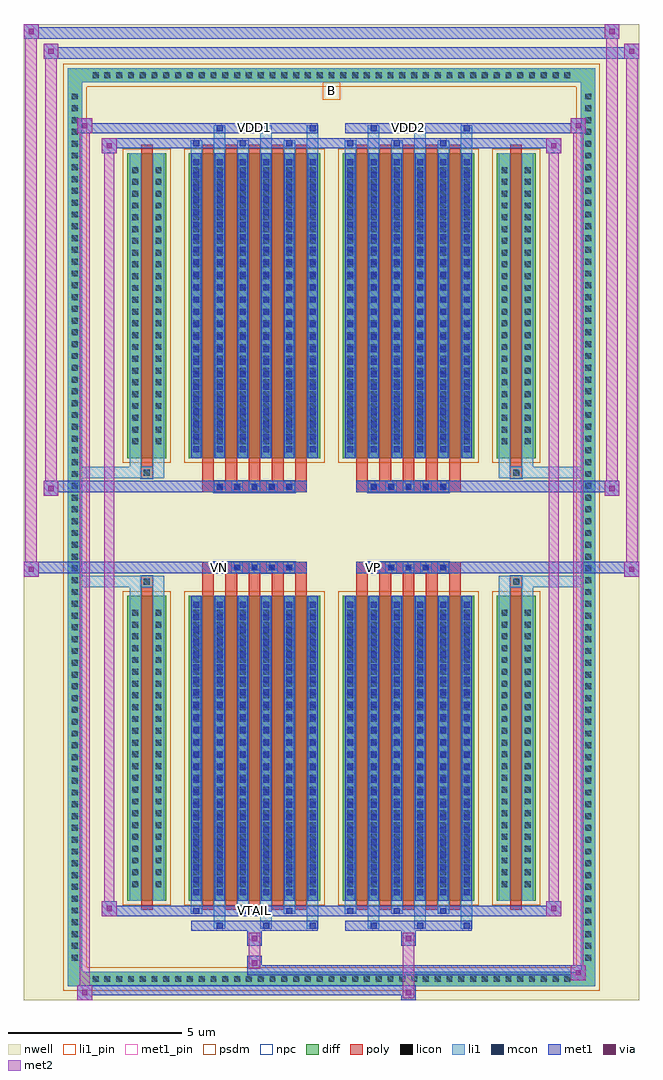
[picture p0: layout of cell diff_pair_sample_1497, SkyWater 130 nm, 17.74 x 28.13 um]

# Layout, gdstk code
import gdstk
lib = gdstk.Library(unit=1e-6, precision=5e-09)
def R(c, l, rs):  # rectangles x0, y0, x1, y1
    for r in rs: c.add(gdstk.rectangle(r[:2], r[2:], *l))
def A(c, l, x, y, w, h, nx, ny, dx, dy):  # array of equal rectangles
    R(c, l, [(x+i*dx, y+j*dy, x+i*dx+w, y+j*dy+h) for i in range(nx) for j in range(ny)])
def P(c, l, *ps):  # polygons
    for p in ps: c.add(gdstk.Polygon(p, *l))
nwell = (64, 20)
diff = (65, 20)
poly = (66, 20)
licon = (66, 44)
li1_pin = (67, 16)
li1 = (67, 20)
mcon = (67, 44)
met1_pin = (68, 16)
met1 = (68, 20)
via = (68, 44)
met2 = (69, 20)
psdm = (94, 20)
npc = (95, 20)

diff_pair_sample_1497 = lib.new_cell('diff_pair_sample_1497')
R(diff_pair_sample_1497, nwell, [(-8.87,-13.63,8.87,14.5), (-6.19,-11.82,-0.01,-0.8), (0.01,-11.82,6.19,-0.8), (-6.19,0.8,-0.01,11.82), (0.01,0.8,6.19,11.82)])
A(diff_pair_sample_1497, diff, -7.005, -13.23, 0.41, 0.41, 41, 2, 0.34, 26.05)
A(diff_pair_sample_1497, diff, -7.6, -12.615, 0.41, 0.41, 1, 74, 0, 0.34)
A(diff_pair_sample_1497, diff, 7.19, -12.615, 0.41, 0.41, 1, 74, 0, 0.34)
R(diff_pair_sample_1497, diff, [(-7.005,-13.23,7.005,-12.82), (-7.6,-12.615,-7.19,12.615), (7.19,-12.615,7.6,12.615), (-5.88,-10.775,-4.76,-1.985), (-4.12,-10.775,-0.32,-1.985), (0.32,-10.775,4.12,-1.985), (4.76,-10.775,5.88,-1.985), (-5.88,1.985,-4.76,10.775), (-4.12,1.985,-0.32,10.775), (0.32,1.985,4.12,10.775), (4.76,1.985,5.88,10.775), (-7.005,12.82,7.005,13.23)])
P(diff_pair_sample_1497, diff, [(7.6,13.23),(-7.6,13.23),(-7.6,-12.82),(-7.19,-12.82),(-7.19,12.82),(7.19,12.82),(7.19,-12.82),(-7.19,-12.82),(-7.6,-12.82),(-7.6,-13.23),(7.6,-13.23)])
A(diff_pair_sample_1497, poly, -3.73, -11.025, 0.34, 9.29, 5, 2, 0.67, 12.76)
A(diff_pair_sample_1497, poly, 0.71, -11.025, 0.34, 9.29, 5, 2, 0.67, 12.76)
A(diff_pair_sample_1497, poly, -3.73, -1.735, 0.34, 0.405, 5, 2, 0.67, 3.065)
A(diff_pair_sample_1497, poly, 0.71, -1.735, 0.34, 0.405, 5, 2, 0.67, 3.065)
A(diff_pair_sample_1497, poly, -3.385, -1.33, 0.33, 0.33, 5, 2, 0.5, 2.33)
A(diff_pair_sample_1497, poly, 1.055, -1.33, 0.33, 0.33, 5, 2, 0.5, 2.33)
R(diff_pair_sample_1497, poly, [(-5.49,-11.025,-5.15,-1.735), (5.15,-11.025,5.49,-1.735), (-5.485,-1.735,-5.155,-1.405), (-5.485,-1.735,-5.155,-1.405), (5.155,-1.735,5.485,-1.405), (5.155,-1.735,5.485,-1.405), (-3.73,-1.33,-0.71,-1), (0.71,-1.33,3.73,-1), (-3.73,1,-0.71,1.33), (0.71,1,3.73,1.33), (-5.485,1.405,-5.155,1.735), (-5.485,1.405,-5.155,1.735), (5.155,1.405,5.485,1.735), (5.155,1.405,5.485,1.735), (-5.49,1.735,-5.15,11.025), (5.15,1.735,5.49,11.025)])
A(diff_pair_sample_1497, licon, -6.885, -13.11, 0.17, 0.17, 41, 2, 0.34, 26.05)
A(diff_pair_sample_1497, licon, -7.48, -12.495, 0.17, 0.17, 1, 74, 0, 0.34)
A(diff_pair_sample_1497, licon, 7.31, -12.495, 0.17, 0.17, 1, 74, 0, 0.34)
A(diff_pair_sample_1497, licon, -5.74, -10.375, 0.17, 0.17, 1, 24, 0, 0.34)
A(diff_pair_sample_1497, licon, -5.07, -10.375, 0.17, 0.17, 1, 24, 0, 0.34)
A(diff_pair_sample_1497, licon, -3.98, -10.375, 0.17, 0.17, 6, 24, 0.67, 0.34)
A(diff_pair_sample_1497, licon, 0.46, -10.375, 0.17, 0.17, 6, 24, 0.67, 0.34)
A(diff_pair_sample_1497, licon, 4.9, -10.375, 0.17, 0.17, 1, 24, 0, 0.34)
A(diff_pair_sample_1497, licon, 5.57, -10.375, 0.17, 0.17, 1, 24, 0, 0.34)
A(diff_pair_sample_1497, licon, -3.305, -1.25, 0.17, 0.17, 5, 2, 0.5, 2.33)
A(diff_pair_sample_1497, licon, 1.135, -1.25, 0.17, 0.17, 5, 2, 0.5, 2.33)
A(diff_pair_sample_1497, licon, -5.74, 2.385, 0.17, 0.17, 1, 24, 0, 0.34)
A(diff_pair_sample_1497, licon, -5.07, 2.385, 0.17, 0.17, 1, 24, 0, 0.34)
A(diff_pair_sample_1497, licon, -3.98, 2.385, 0.17, 0.17, 6, 24, 0.67, 0.34)
A(diff_pair_sample_1497, licon, 0.46, 2.385, 0.17, 0.17, 6, 24, 0.67, 0.34)
A(diff_pair_sample_1497, licon, 4.9, 2.385, 0.17, 0.17, 1, 24, 0, 0.34)
A(diff_pair_sample_1497, licon, 5.57, 2.385, 0.17, 0.17, 1, 24, 0, 0.34)
R(diff_pair_sample_1497, licon, [(-5.405,-1.655,-5.235,-1.485), (5.235,-1.655,5.405,-1.485), (-5.405,1.485,-5.235,1.655), (5.235,1.485,5.405,1.655)])
R(diff_pair_sample_1497, li1_pin, [(-0.25,12.32,0.25,12.82)])
A(diff_pair_sample_1497, li1, -6.965, -13.19, 0.33, 0.33, 41, 2, 0.34, 26.05)
A(diff_pair_sample_1497, li1, -7.56, -12.575, 0.33, 0.33, 1, 74, 0, 0.34)
A(diff_pair_sample_1497, li1, 7.23, -12.575, 0.33, 0.33, 1, 74, 0, 0.34)
A(diff_pair_sample_1497, li1, -3.39, -11.58, 0.33, 0.805, 3, 2, 1.34, 22.355)
A(diff_pair_sample_1497, li1, -3.31, -11.58, 0.17, 0.17, 3, 2, 1.34, 22.99)
A(diff_pair_sample_1497, li1, 1.05, -11.58, 0.33, 0.805, 3, 2, 1.34, 22.355)
A(diff_pair_sample_1497, li1, 1.13, -11.58, 0.17, 0.17, 3, 2, 1.34, 22.99)
A(diff_pair_sample_1497, li1, -4.06, -11.15, 0.33, 0.375, 3, 2, 1.34, 21.925)
A(diff_pair_sample_1497, li1, -3.98, -11.15, 0.17, 0.17, 3, 2, 1.34, 22.13)
A(diff_pair_sample_1497, li1, 0.38, -11.15, 0.33, 0.375, 3, 2, 1.34, 21.925)
A(diff_pair_sample_1497, li1, 0.46, -11.15, 0.17, 0.17, 3, 2, 1.34, 22.13)
A(diff_pair_sample_1497, li1, -4.06, -10.775, 0.33, 8.79, 6, 2, 0.67, 12.76)
A(diff_pair_sample_1497, li1, 0.38, -10.775, 0.33, 8.79, 6, 2, 0.67, 12.76)
A(diff_pair_sample_1497, li1, -3.98, -10.605, 0.17, 0.17, 6, 24, 0.67, 0.36)
A(diff_pair_sample_1497, li1, -3.98, -10.605, 0.17, 8.45, 6, 2, 0.67, 12.76)
A(diff_pair_sample_1497, li1, 0.46, -10.605, 0.17, 0.17, 6, 24, 0.67, 0.36)
A(diff_pair_sample_1497, li1, 0.46, -10.605, 0.17, 8.45, 6, 2, 0.67, 12.76)
A(diff_pair_sample_1497, li1, -5.82, -10.455, 0.33, 0.33, 1, 24, 0, 0.34)
A(diff_pair_sample_1497, li1, -5.15, -10.455, 0.33, 0.33, 1, 24, 0, 0.34)
A(diff_pair_sample_1497, li1, -4.06, -10.455, 0.33, 0.33, 6, 24, 0.67, 0.34)
A(diff_pair_sample_1497, li1, 0.38, -10.455, 0.33, 0.33, 6, 24, 0.67, 0.34)
A(diff_pair_sample_1497, li1, 4.82, -10.455, 0.33, 0.33, 1, 24, 0, 0.34)
A(diff_pair_sample_1497, li1, 5.49, -10.455, 0.33, 0.33, 1, 24, 0, 0.34)
A(diff_pair_sample_1497, li1, -3.385, -1.33, 0.33, 0.33, 5, 2, 0.5, 2.33)
A(diff_pair_sample_1497, li1, 1.055, -1.33, 0.33, 0.33, 5, 2, 0.5, 2.33)
A(diff_pair_sample_1497, li1, -3.98, 2.155, 0.17, 0.17, 6, 24, 0.67, 0.36)
A(diff_pair_sample_1497, li1, 0.46, 2.155, 0.17, 0.17, 6, 24, 0.67, 0.36)
A(diff_pair_sample_1497, li1, -5.82, 2.305, 0.33, 0.33, 1, 24, 0, 0.34)
A(diff_pair_sample_1497, li1, -5.15, 2.305, 0.33, 0.33, 1, 24, 0, 0.34)
A(diff_pair_sample_1497, li1, -4.06, 2.305, 0.33, 0.33, 6, 24, 0.67, 0.34)
A(diff_pair_sample_1497, li1, 0.38, 2.305, 0.33, 0.33, 6, 24, 0.67, 0.34)
A(diff_pair_sample_1497, li1, 4.82, 2.305, 0.33, 0.33, 1, 24, 0, 0.34)
A(diff_pair_sample_1497, li1, 5.49, 2.305, 0.33, 0.33, 1, 24, 0, 0.34)
R(diff_pair_sample_1497, li1, [(-7.6,-13.23,-7.19,-12.82), (-7.6,-13.23,-7.19,-12.82), (-7.19,-13.23,7.19,-12.82), (7.19,-13.23,7.6,-12.82), (7.19,-13.23,7.6,-12.82), (-7.6,-12.82,-7.19,12.82), (7.19,-12.82,7.6,12.82), (-5.82,-10.775,-5.49,-1.985), (-5.15,-10.775,-4.82,-1.985), (4.82,-10.775,5.15,-1.985), (5.49,-10.775,5.82,-1.985), (-5.82,-1.985,-5.49,-1.405), (-5.15,-1.985,-4.82,-1.405), (4.82,-1.985,5.15,-1.405), (5.49,-1.985,5.82,-1.405), (-7.6,-1.735,-5.485,-1.405), (-5.82,-1.735,-5.485,-1.405), (-5.485,-1.735,-5.155,-1.405), (-5.155,-1.735,-4.82,-1.405), (4.82,-1.735,5.155,-1.405), (5.155,-1.735,5.485,-1.405), (5.155,-1.735,7.6,-1.405), (5.485,-1.735,5.82,-1.405), (-7.6,1.405,-5.485,1.735), (-5.82,1.405,-5.485,1.735), (-5.82,1.405,-5.49,1.985), (-5.485,1.405,-5.155,1.735), (-5.155,1.405,-4.82,1.735), (-5.15,1.405,-4.82,1.985), (4.82,1.405,5.155,1.735), (4.82,1.405,5.15,1.985), (5.155,1.405,5.485,1.735), (5.155,1.405,7.6,1.735), (5.485,1.405,5.82,1.735), (5.49,1.405,5.82,1.985), (-5.82,1.985,-5.49,10.775), (-5.15,1.985,-4.82,10.775), (4.82,1.985,5.15,10.775), (5.49,1.985,5.82,10.775), (-7.6,12.82,-7.19,13.23), (-7.6,12.82,-7.19,13.23), (-7.19,12.82,7.19,13.23), (7.19,12.82,7.6,13.23), (7.19,12.82,7.6,13.23)])
A(diff_pair_sample_1497, mcon, -3.31, -11.58, 0.17, 0.17, 3, 2, 1.34, 22.99)
A(diff_pair_sample_1497, mcon, 1.13, -11.58, 0.17, 0.17, 3, 2, 1.34, 22.99)
A(diff_pair_sample_1497, mcon, -3.98, -11.15, 0.17, 0.17, 3, 2, 1.34, 22.13)
A(diff_pair_sample_1497, mcon, 0.46, -11.15, 0.17, 0.17, 3, 2, 1.34, 22.13)
A(diff_pair_sample_1497, mcon, -3.98, -10.605, 0.17, 0.17, 6, 24, 0.67, 0.36)
A(diff_pair_sample_1497, mcon, 0.46, -10.605, 0.17, 0.17, 6, 24, 0.67, 0.36)
A(diff_pair_sample_1497, mcon, -3.305, -1.25, 0.17, 0.17, 5, 2, 0.5, 2.33)
A(diff_pair_sample_1497, mcon, 1.135, -1.25, 0.17, 0.17, 5, 2, 0.5, 2.33)
A(diff_pair_sample_1497, mcon, -3.98, 2.155, 0.17, 0.17, 6, 24, 0.67, 0.36)
A(diff_pair_sample_1497, mcon, 0.46, 2.155, 0.17, 0.17, 6, 24, 0.67, 0.36)
R(diff_pair_sample_1497, met1_pin, [(-2.355,-11.19,-2.085,-10.92), (-3.355,-1.29,-3.085,-1.02), (1.085,-1.29,1.355,-1.02), (-2.355,11.37,-2.085,11.64), (2.085,11.37,2.355,11.64)])
A(diff_pair_sample_1497, met1, -3.37, -11.64, 0.29, 0.29, 3, 2, 1.34, 22.99)
A(diff_pair_sample_1497, met1, 1.07, -11.64, 0.29, 0.29, 3, 2, 1.34, 22.99)
A(diff_pair_sample_1497, met1, -4.04, -11.21, 0.29, 0.29, 3, 2, 1.34, 22.13)
A(diff_pair_sample_1497, met1, 0.4, -11.21, 0.29, 0.29, 3, 2, 1.34, 22.13)
A(diff_pair_sample_1497, met1, -4.04, -10.775, 0.29, 8.79, 6, 2, 0.67, 12.76)
A(diff_pair_sample_1497, met1, 0.4, -10.775, 0.29, 8.79, 6, 2, 0.67, 12.76)
A(diff_pair_sample_1497, met1, -4.04, -10.665, 0.29, 0.29, 6, 24, 0.67, 0.36)
A(diff_pair_sample_1497, met1, 0.4, -10.665, 0.29, 0.29, 6, 24, 0.67, 0.36)
A(diff_pair_sample_1497, met1, -3.365, -1.31, 0.29, 0.29, 5, 2, 0.5, 2.33)
A(diff_pair_sample_1497, met1, 1.075, -1.31, 0.29, 0.29, 5, 2, 0.5, 2.33)
A(diff_pair_sample_1497, met1, -4.04, 2.095, 0.29, 0.29, 6, 24, 0.67, 0.36)
A(diff_pair_sample_1497, met1, 0.4, 2.095, 0.29, 0.29, 6, 24, 0.67, 0.36)
R(diff_pair_sample_1497, met1, [(-7.33,-13.63,-6.9,-13.2), (2.005,-13.63,2.435,-13.2), (-7.33,-13.49,2.435,-13.2), (6.9,-13.06,7.33,-12.63), (-2.435,-12.92,7.33,-12.63), (-2.435,-12.78,-2.005,-12.35), (-2.435,-12.07,-2.005,-11.64), (2.005,-12.07,2.435,-11.64), (-4.04,-11.64,-0.4,-11.35), (0.4,-11.64,4.04,-11.35), (-6.62,-11.21,-6.19,-10.78), (-6.62,-11.21,-4.04,-10.92), (-4.04,-11.21,-0.4,-10.92), (-0.4,-11.21,0.4,-10.92), (0.4,-11.21,4.04,-10.92), (4.04,-11.21,6.62,-10.92), (6.19,-11.21,6.62,-10.78), (-8.87,-1.43,-8.44,-1), (8.44,-1.43,8.87,-1), (-8.87,-1.33,-0.71,-1), (-3.73,-1.33,-0.71,-1), (0.71,-1.33,3.73,-1), (0.71,-1.33,8.87,-1), (-8.3,0.9,-7.87,1.33), (7.87,0.9,8.3,1.33), (-8.3,1,-3.73,1.33), (-3.73,1,-0.71,1.33), (0.71,1,3.73,1.33), (3.73,1,8.3,1.33), (-6.62,10.78,-6.19,11.21), (6.19,10.78,6.62,11.21), (-6.62,10.92,-4.04,11.21), (-4.04,10.92,-0.4,11.21), (-0.4,10.92,0.4,11.21), (0.4,10.92,4.04,11.21), (4.04,10.92,6.62,11.21), (-7.33,11.35,-6.9,11.78), (-7.33,11.35,-4.04,11.64), (-4.04,11.35,-0.4,11.64), (0.4,11.35,4.04,11.64), (4.04,11.35,7.33,11.64), (6.9,11.35,7.33,11.78), (-8.3,13.5,-7.87,13.93), (-8.3,13.5,-6.19,13.83), (-6.19,13.5,6.19,13.83), (6.19,13.5,8.87,13.83), (8.44,13.5,8.87,13.93), (-8.87,14.07,-8.44,14.5), (-8.87,14.07,-6.19,14.4), (-6.19,14.07,6.19,14.4), (6.19,14.07,8.3,14.4), (7.87,14.07,8.3,14.5)])
R(diff_pair_sample_1497, via, [(-7.19,-13.49,-7.04,-13.34), (2.145,-13.49,2.295,-13.34), (7.04,-12.92,7.19,-12.77), (-2.295,-12.64,-2.145,-12.49), (-2.295,-11.93,-2.145,-11.78), (2.145,-11.93,2.295,-11.78), (-6.48,-11.07,-6.33,-10.92), (6.33,-11.07,6.48,-10.92), (-8.73,-1.29,-8.58,-1.14), (8.58,-1.29,8.73,-1.14), (-8.16,1.04,-8.01,1.19), (8.01,1.04,8.16,1.19), (-6.48,10.92,-6.33,11.07), (6.33,10.92,6.48,11.07), (-7.19,11.49,-7.04,11.64), (7.04,11.49,7.19,11.64), (-8.16,13.64,-8.01,13.79), (8.58,13.64,8.73,13.79), (-8.73,14.21,-8.58,14.36), (8.01,14.21,8.16,14.36)])
R(diff_pair_sample_1497, met2, [(-7.33,-13.63,-6.9,-13.2), (-7.26,-13.63,-6.97,11.78), (-6.97,-13.63,-6.9,-13.2), (-7.28,-13.58,-6.95,-13.25), (2.055,-13.58,2.385,-13.25), (2.055,-13.25,2.385,-12.02), (6.9,-13.06,7.33,-12.63), (6.97,-13.06,7.26,11.78), (7.26,-13.06,7.33,-12.63), (6.95,-13.01,7.28,-12.68), (-2.385,-12.73,-2.055,-12.4), (-2.385,-12.4,-2.055,-12.02), (-2.385,-12.02,-2.055,-11.69), (2.055,-12.02,2.385,-11.69), (-6.62,-11.21,-6.19,-10.78), (-6.55,-11.21,-6.26,11.21), (-6.26,-11.21,-6.19,-10.78), (6.19,-11.21,6.62,-10.78), (6.26,-11.21,6.55,11.21), (6.55,-11.21,6.62,-10.78), (-6.57,-11.16,-6.24,-10.83), (6.24,-11.16,6.57,-10.83), (-8.87,-1.43,-8.44,-1), (-8.82,-1.43,-8.49,14.5), (-8.49,-1.43,-8.44,-1), (8.44,-1.43,8.87,-1), (8.49,-1.43,8.82,13.93), (8.82,-1.43,8.87,-1), (-8.82,-1.38,-8.49,-1.05), (8.49,-1.38,8.82,-1.05), (-8.3,0.9,-7.87,1.33), (-8.25,0.9,-7.92,13.93), (-7.92,0.9,-7.87,1.33), (7.87,0.9,8.3,1.33), (7.92,0.9,8.25,14.5), (8.25,0.9,8.3,1.33), (-8.25,0.95,-7.92,1.28), (7.92,0.95,8.25,1.28), (-6.62,10.78,-6.19,11.21), (-6.26,10.78,-6.19,11.21), (6.19,10.78,6.62,11.21), (6.55,10.78,6.62,11.21), (-6.57,10.83,-6.24,11.16), (6.24,10.83,6.57,11.16), (-7.33,11.35,-6.9,11.78), (-6.97,11.35,-6.9,11.78), (6.9,11.35,7.33,11.78), (7.26,11.35,7.33,11.78), (-7.28,11.4,-6.95,11.73), (6.95,11.4,7.28,11.73), (-8.3,13.5,-7.87,13.93), (-7.92,13.5,-7.87,13.93), (8.44,13.5,8.87,13.93), (8.82,13.5,8.87,13.93), (-8.25,13.55,-7.92,13.88), (8.49,13.55,8.82,13.88), (-8.87,14.07,-8.44,14.5), (-8.49,14.07,-8.44,14.5), (7.87,14.07,8.3,14.5), (8.25,14.07,8.3,14.5), (-8.82,14.12,-8.49,14.45), (7.92,14.12,8.25,14.45)])
R(diff_pair_sample_1497, psdm, [(-6.01,-10.905,-4.63,-1.855), (-4.25,-10.905,-0.19,-1.855), (0.19,-10.905,4.25,-1.855), (4.63,-10.905,6.01,-1.855), (-6.01,1.855,-4.63,10.905), (-4.25,1.855,-0.19,10.905), (0.19,1.855,4.25,10.905), (4.63,1.855,6.01,10.905)])
P(diff_pair_sample_1497, psdm, [(7.73,13.36),(-7.73,13.36),(-7.73,-12.69),(-7.06,-12.69),(-7.06,12.69),(7.06,12.69),(7.06,-12.69),(-7.06,-12.69),(-7.73,-12.69),(-7.73,-13.36),(7.73,-13.36)])
A(diff_pair_sample_1497, npc, -3.405, -1.35, 0.37, 0.37, 5, 2, 0.5, 2.33)
A(diff_pair_sample_1497, npc, 1.035, -1.35, 0.37, 0.37, 5, 2, 0.5, 2.33)
R(diff_pair_sample_1497, npc, [(-5.505,-1.755,-5.135,-1.385), (5.135,-1.755,5.505,-1.385), (-3.405,-1.35,-2.535,-0.98), (-3.405,-1.35,-2.535,-0.98), (-2.905,-1.35,-2.035,-0.98), (-2.905,-1.35,-2.035,-0.98), (-2.405,-1.35,-1.535,-0.98), (-2.405,-1.35,-1.535,-0.98), (-1.905,-1.35,-1.035,-0.98), (-1.905,-1.35,-1.035,-0.98), (1.035,-1.35,1.905,-0.98), (1.035,-1.35,1.905,-0.98), (1.535,-1.35,2.405,-0.98), (1.535,-1.35,2.405,-0.98), (2.035,-1.35,2.905,-0.98), (2.035,-1.35,2.905,-0.98), (2.535,-1.35,3.405,-0.98), (2.535,-1.35,3.405,-0.98), (-3.405,0.98,-2.535,1.35), (-3.405,0.98,-2.535,1.35), (-2.905,0.98,-2.035,1.35), (-2.905,0.98,-2.035,1.35), (-2.405,0.98,-1.535,1.35), (-2.405,0.98,-1.535,1.35), (-1.905,0.98,-1.035,1.35), (-1.905,0.98,-1.035,1.35), (1.035,0.98,1.905,1.35), (1.035,0.98,1.905,1.35), (1.535,0.98,2.405,1.35), (1.535,0.98,2.405,1.35), (2.035,0.98,2.905,1.35), (2.035,0.98,2.905,1.35), (2.535,0.98,3.405,1.35), (2.535,0.98,3.405,1.35), (-5.505,1.385,-5.135,1.755), (5.135,1.385,5.505,1.755)])
diff_pair_sample_1497.add(gdstk.Label('VTAIL', (-2.22,-11.055), layer=68, texttype=5))
diff_pair_sample_1497.add(gdstk.Label('VN', (-3.22,-1.155), layer=68, texttype=5))
diff_pair_sample_1497.add(gdstk.Label('VP', (1.22,-1.155), layer=68, texttype=5))
diff_pair_sample_1497.add(gdstk.Label('B', (0,12.57), layer=67, texttype=5))
diff_pair_sample_1497.add(gdstk.Label('VDD2', (2.22,11.505), layer=68, texttype=5))
diff_pair_sample_1497.add(gdstk.Label('VDD1', (-2.22,11.505), layer=68, texttype=5))

lib.write_gds('diff_pair_sample_1497.gds')
